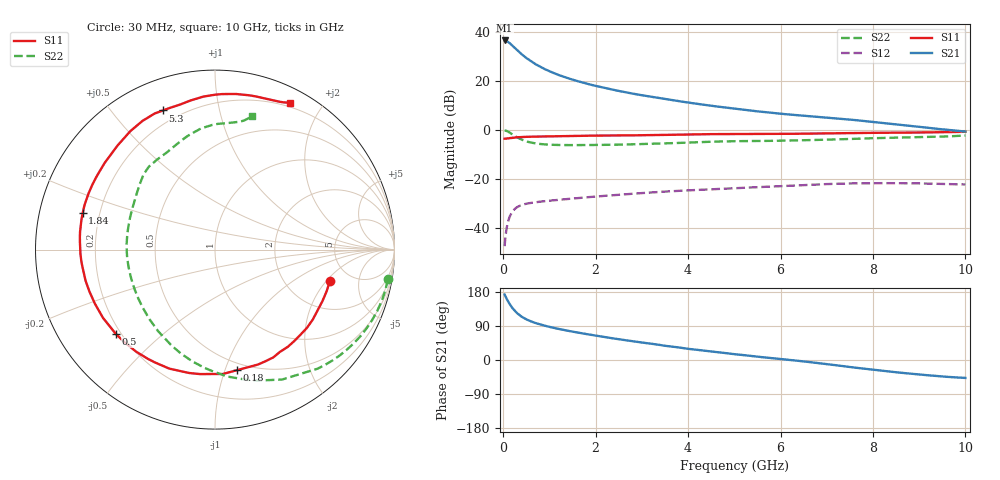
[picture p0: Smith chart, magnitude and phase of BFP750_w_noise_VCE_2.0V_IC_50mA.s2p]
! Infineon Technologies  Discrete & RF Semiconductors
! BFP750
! VCE =  2.0 V,  IC =  50 mA
! Common Emitter S-Parameters:  Jan 2016
# GHz  S  MA  R  50
!  f  S11  S21  S12  S22
! GHz  MAG  ANG  MAG  ANG  MAG  ANG  MAG  ANG
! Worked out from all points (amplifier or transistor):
!   229 points, 30 MHz to 10 GHz, reference 50 ohm
!   highest |S21| = 36.6 dB at 30 MHz (marker M1)
!   |S21| within 3 dB of that: start of sweep to 247.5 MHz
!   unconditionally stable (mu >= 1): 4.014 GHz to end of sweep
!   at 280 MHz: K = 0.17, MSG = 32.5 dB, |S12| = -31.9 dB
!   at 1.78 GHz: K = 0.71, MSG = 23.3 dB, |S12| = -27.6 dB
!   at 10 GHz: K = 1.06, MAG = 9.3 dB, |S12| = -22.3 dB
!   lowest NFmin = 1.04 dB at 450 MHz
!   S11 on the Smith chart (normalised r, x): 30 MHz: 3.49, -2.18; 180 MHz: 0.44, -1.10; 500 MHz: 0.18, -0.36; 1.84 GHz: 0.14, +0.13; 5.3 GHz: 0.14, +0.68; 10 GHz: 0.15, +1.63
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0.03  0.6635 -15.3  67.91 172.7  0.0042 85.0  0.977 -9.8
0.05  0.6639 -25.8  67.61 167.2  0.0067 77.8  0.9722 -17.1
0.06  0.6643 -30.5  67.01 165.2  0.0081 75.6  0.9666 -20.6
0.1  0.6744 -49.5  63.77 155.8  0.0128 68.8  0.9326 -34.1
0.15  0.6837 -69.5  58.68 145.5  0.0177 60.2  0.8754 -49.3
0.18  0.683 -79.7  55.13 140.5  0.0199 55.6  0.8335 -57.1
0.24  0.6987 -97.0  48.82 131.2  0.0237 48.3  0.7676 -71.9
0.3  0.7103 -111.0  43.1 123.6  0.0264 42.7  0.7102 -84.5
0.4  0.7185 -127.6  35.4 114.2  0.0292 36.4  0.6362 -101.3
0.5  0.7252 -139.6  29.71 107.3  0.031 32.1  0.5866 -114.4
0.7  0.7338 -155.8  22.19 97.4  0.0333 27.5  0.5319 -133.7
0.9  0.7417 -166.5  17.59 90.3  0.035 25.3  0.5075 -147.1
1.2  0.7501 -178.2  13.33 81.9  0.0373 23.8  0.4938 -161.5
1.7  0.7624 167.8  9.453 70.5  0.0411 22.7  0.4917 -177.5
1.84  0.7647 164.6  8.713 67.6  0.0422 22.4  0.4925 178.9
2.6  0.775 148.9  6.018 53.0  0.048 20.1  0.5032 161.6
3.4  0.7904 134.8  4.454 39.5  0.0542 16.5  0.527 147.7
5.1  0.8286 112.8  2.666 14.2  0.0652 7.6  0.5916 127.4
5.3  0.8281 110.6  2.534 11.5  0.0664 6.3  0.5935 125.1
6.8  0.8488 96.4  1.862 -7.9  0.0767 -3.6  0.6268 109.3
8.4  0.8805 77.5  1.337 -31.0  0.0819 -18.7  0.6943 91.4
10  0.9193 62.8  0.929 -47.4  0.0769 -30.0  0.7702 74.5
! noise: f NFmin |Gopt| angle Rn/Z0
0.45  1.04  0.18  -167  0.47
0.9  1.06  0.23  -161  0.24
1.5  1.08  0.34  -155  0.09
1.9  1.09  0.36  -150  0.08
2.4  1.1  0.37  -143  0.09
3.5  1.33  0.38  -128  0.1
